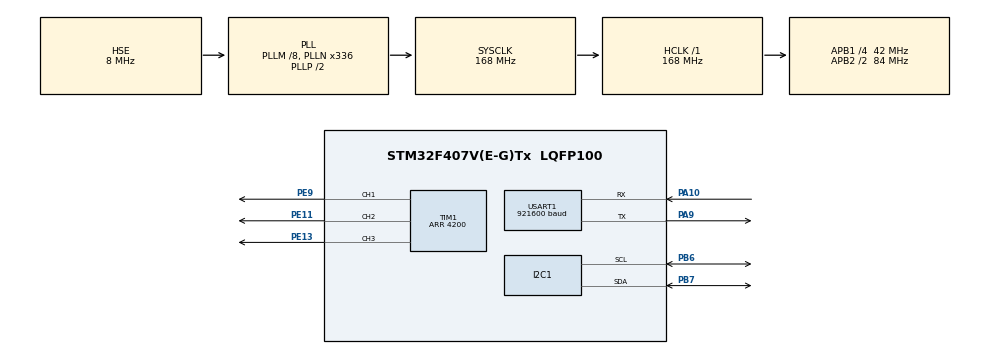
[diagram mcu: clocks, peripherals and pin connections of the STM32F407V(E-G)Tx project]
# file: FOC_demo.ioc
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I2C1.I2C_Mode=I2C_Fast
Mcu.Family=STM32F4
Mcu.Name=STM32F407V(E-G)Tx
Mcu.Package=LQFP100
NVIC.PriorityGroup=NVIC_PRIORITYGROUP_4
NVIC.TIM6_DAC_IRQn=true\:0\:0\:false\:false\:true\:true\:true\:true
PA10.Mode=Asynchronous
PA10.Signal=USART1_RX
PA13.Mode=Serial_Wire
PA13.Signal=SYS_JTMS-SWDIO
PA14.Mode=Serial_Wire
PA14.Signal=SYS_JTCK-SWCLK
PA9.Mode=Asynchronous
PA9.Signal=USART1_TX
PB6.Mode=I2C
PB6.Signal=I2C1_SCL
PB7.Mode=I2C
PB7.Signal=I2C1_SDA
PE11.Signal=S_TIM1_CH2
PE13.Signal=S_TIM1_CH3
PE9.Signal=S_TIM1_CH1
PH0-OSC_IN.Mode=HSE-External-Oscillator
PH0-OSC_IN.Signal=RCC_OSC_IN
PH1-OSC_OUT.Mode=HSE-External-Oscillator
PH1-OSC_OUT.Signal=RCC_OSC_OUT
ProjectManager.HeapSize=0x200
ProjectManager.StackSize=0x400
ProjectManager.TargetToolchain=CMake
RCC.48MHZClocksFreq_Value=84000000
RCC.AHBFreq_Value=168000000
RCC.APB1CLKDivider=RCC_HCLK_DIV4
RCC.APB1Freq_Value=42000000
RCC.APB1TimFreq_Value=84000000
RCC.APB2CLKDivider=RCC_HCLK_DIV2
RCC.APB2Freq_Value=84000000
RCC.APB2TimFreq_Value=168000000
RCC.CortexFreq_Value=168000000
RCC.HCLKFreq_Value=168000000
RCC.HSE_VALUE=8000000
RCC.HSI_VALUE=16000000
RCC.LSE_VALUE=32768
RCC.PLLM=8
RCC.PLLN=336
RCC.PLLSourceVirtual=RCC_PLLSOURCE_HSE
RCC.SYSCLKFreq_VALUE=168000000
RCC.SYSCLKSource=RCC_SYSCLKSOURCE_PLLCLK
RCC.VCOOutputFreq_Value=336000000
SH.S_TIM1_CH1.0=TIM1_CH1,PWM Generation1 CH1
SH.S_TIM1_CH2.0=TIM1_CH2,PWM Generation2 CH2
SH.S_TIM1_CH3.0=TIM1_CH3,PWM Generation3 CH3
TIM1.Channel-PWM\ Generation1\ CH1=TIM_CHANNEL_1
TIM1.Channel-PWM\ Generation2\ CH2=TIM_CHANNEL_2
TIM1.Channel-PWM\ Generation3\ CH3=TIM_CHANNEL_3
TIM1.CounterMode=TIM_COUNTERMODE_CENTERALIGNED1
TIM1.Period=4200
TIM1.Pulse-PWM\ Generation1\ CH1=2100
TIM1.Pulse-PWM\ Generation2\ CH2=2100
TIM6.Prescaler=83
USART1.BaudRate=921600
USART1.VirtualMode=VM_ASYNC
VP_TIM1_VS_ClockSourceINT.Mode=Internal
VP_TIM6_VS_ClockSourceINT.Mode=Enable_Timer
board=custom

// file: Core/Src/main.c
/* USER CODE BEGIN Header */
/**
  ******************************************************************************
  * @file           : main.c
  * @brief          : Main program body
  ******************************************************************************
  * @attention
  *
  * Copyright (c) 2026 STMicroelectronics.
  * All rights reserved.
  *
  * This software is licensed under terms that can be found in the LICENSE file
  * in the root directory of this software component.
  * If no LICENSE file comes with this software, it is provided AS-IS.
  *
  ******************************************************************************
  */
/* USER CODE END Header */
#include "main.h"
#include "i2c.h"
#include "stm32f4xx_hal_tim.h"
#include "tim.h"
#include "usart.h"
#include "gpio.h"

/* USER CODE BEGIN Includes */
#include "foc.h"
#include "as5600.h"
#include <stdio.h>
#include "mpu6050.h"
#include "math.h"
/* USER CODE END Includes */

void SystemClock_Config(void);

int main(void)
{

  /* MCU Configuration--------------------------------------------------------*/

  /* Reset of all peripherals, Initializes the Flash interface and the Systick. */
  HAL_Init();

  /* Configure the system clock */
  SystemClock_Config();

  /* Initialize all configured peripherals */
  MX_GPIO_Init();
  MX_I2C1_Init();
  MX_TIM1_Init();
  MX_TIM6_Init();
  MX_USART1_UART_Init();
  /* USER CODE BEGIN 2 */
  HAL_TIM_PWM_Start(&htim1, TIM_CHANNEL_1);
  HAL_TIM_PWM_Start(&htim1, TIM_CHANNEL_2);
  HAL_TIM_PWM_Start(&htim1, TIM_CHANNEL_3);

  foc_align_sensor();   /* 转子对齐（⚠️VM必须上12V电）*/
  MPU6050_Init();

  {
      char s[64];
      int len = sprintf(s, "zero_electric_angle = %.3f\r\n", zero_electric_angle);
      HAL_UART_Transmit(&huart1, (uint8_t*)s, len, 200);
  }

   __HAL_TIM_SET_AUTORELOAD(&htim6, 999);   /* 闭环下一步再启用 */
   HAL_TIM_Base_Start_IT(&htim6);
  /* USER CODE END 2 */

  /* Infinite loop */
  /* USER CODE BEGIN WHILE */
  while (1)
  {
    float a = AS5600_GetAngleRad();
    if (a < 100.0f) {
      mech_angle = a;
    }

    int16_t ax, ay, az, gx, gy, gz;
    MPU6050_Read(&ax, &ay, &az, &gx, &gy, &gz);

    float pitch_acc = atan2f(-(float)ax, (float)az) * 57.29578f;    /*57.3=180/pi*/

    float gyro_y = (float)gy / 131.0f;

    static uint32_t last = 0;
    uint32_t now = HAL_GetTick();
    float dt = (now - last) * 0.001f;
    last = now;
    if(dt > 0.05f) dt = 0.05f;
    pitch = 0.96f * (pitch + gyro_y *dt) + 0.04f * pitch_acc;

    static uint32_t t = 0;
    if (now - t > 100){
      t = now;
      char s[48];
      int len = sprintf(s, "pitch=%.1f\r\n", pitch);
      HAL_UART_Transmit(&huart1, (uint8_t*)s, len, 100);
    }
    HAL_Delay(1);
    /* USER CODE END WHILE */

  }
}

void SystemClock_Config(void)
{
  RCC_OscInitTypeDef RCC_OscInitStruct = {0};
  RCC_ClkInitTypeDef RCC_ClkInitStruct = {0};

  /** Configure the main internal regulator output voltage
  */
  __HAL_RCC_PWR_CLK_ENABLE();
  __HAL_PWR_VOLTAGESCALING_CONFIG(PWR_REGULATOR_VOLTAGE_SCALE1);

  /** Initializes the RCC Oscillators according to the specified parameters
  * in the RCC_OscInitTypeDef structure.
  */
  RCC_OscInitStruct.OscillatorType = RCC_OSCILLATORTYPE_HSE;
  RCC_OscInitStruct.HSEState = RCC_HSE_ON;
  RCC_OscInitStruct.PLL.PLLState = RCC_PLL_ON;
  RCC_OscInitStruct.PLL.PLLSource = RCC_PLLSOURCE_HSE;
  RCC_OscInitStruct.PLL.PLLM = 8;
  RCC_OscInitStruct.PLL.PLLN = 336;
  RCC_OscInitStruct.PLL.PLLP = RCC_PLLP_DIV2;
  RCC_OscInitStruct.PLL.PLLQ = 4;
  if (HAL_RCC_OscConfig(&RCC_OscInitStruct) != HAL_OK)
  {
    Error_Handler();
  }

  /** Initializes the CPU, AHB and APB buses clocks
  */
  RCC_ClkInitStruct.ClockType = RCC_CLOCKTYPE_HCLK|RCC_CLOCKTYPE_SYSCLK
                              |RCC_CLOCKTYPE_PCLK1|RCC_CLOCKTYPE_PCLK2;
  RCC_ClkInitStruct.SYSCLKSource = RCC_SYSCLKSOURCE_PLLCLK;
  RCC_ClkInitStruct.AHBCLKDivider = RCC_SYSCLK_DIV1;
  RCC_ClkInitStruct.APB1CLKDivider = RCC_HCLK_DIV4;
  RCC_ClkInitStruct.APB2CLKDivider = RCC_HCLK_DIV2;

  if (HAL_RCC_ClockConfig(&RCC_ClkInitStruct, FLASH_LATENCY_5) != HAL_OK)
  {
    Error_Handler();
  }
}

/* USER CODE BEGIN 4 */
void HAL_TIM_PeriodElapsedCallback(TIM_HandleTypeDef *htim)
{
  if (htim->Instance == TIM6) {
    foc_velocity_update();
    foc_angle_loop();
    foc_velocity_loop();
    foc_closedloop_step();
  }
}
/* USER CODE END 4 */

void Error_Handler(void)
{
  __disable_irq();
  while (1)
  {
  }
}
